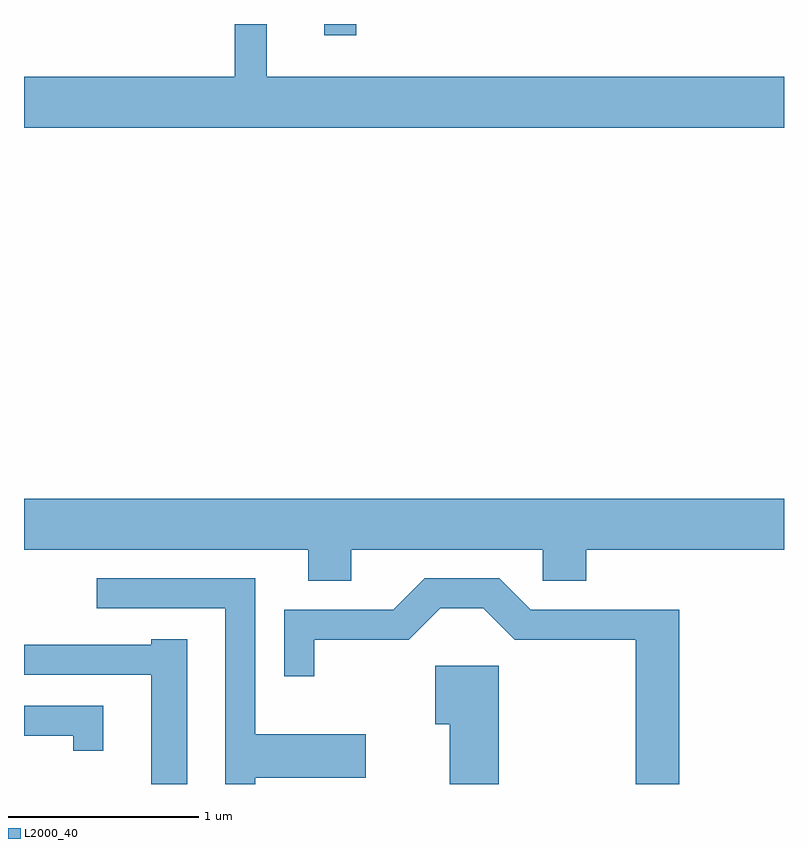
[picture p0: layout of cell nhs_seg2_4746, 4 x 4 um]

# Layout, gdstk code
import gdstk
lib = gdstk.Library(unit=1e-6, precision=1e-09)
def R(c, l, rs):  # rectangles x0, y0, x1, y1
    for r in rs: c.add(gdstk.rectangle(r[:2], r[2:], *l))
def P(c, l, *ps):  # polygons
    for p in ps: c.add(gdstk.Polygon(p, *l))
L2000_40 = (2000, 40)

nhs_seg2_4746 = lib.new_cell('nhs_seg2_4746')
R(nhs_seg2_4746, L2000_40, [(327.191,997.743,327.359,997.802)])
P(nhs_seg2_4746, L2000_40, [(329.611,997.524),(326.889,997.524),(326.889,997.802),(326.721,997.802),(326.721,997.524),(325.611,997.524),(325.611,997.256),(329.611,997.256)],
  [(325.611,995.036),(327.106,995.036),(327.106,994.871),(327.334,994.871),(327.334,995.036),(328.341,995.036),(328.341,994.871),(328.569,994.871),(328.569,995.036),(329.611,995.036),(329.611,995.304),(325.611,995.304)],
  [(329.059,994.719),(328.277,994.719),(328.112,994.884),(327.719,994.884),(327.554,994.719),(326.981,994.719),(326.981,994.368),(327.139,994.368),(327.139,994.561),(327.637,994.561),(327.802,994.726),(328.029,994.726),(328.194,994.561),(328.831,994.561),(328.831,993.802),(329.059,993.802)],
  [(326.829,993.836),(327.409,993.836),(327.409,994.064),(326.829,994.064),(326.829,994.884),(325.993,994.884),(325.993,994.726),(326.671,994.726),(326.671,993.802),(326.829,993.802)],
  [(326.469,994.564),(326.281,994.564),(326.281,994.534),(325.611,994.534),(325.611,994.376),(326.281,994.376),(326.281,993.802),(326.469,993.802)],
  [(328.109,994.424),(327.776,994.424),(327.776,994.116),(327.851,994.116),(327.851,993.802),(328.109,993.802)],
  [(326.029,994.214),(325.611,994.214),(325.611,994.056),(325.871,994.056),(325.871,993.978),(326.029,993.978)])

lib.write_gds('nhs_seg2_4746.gds')
